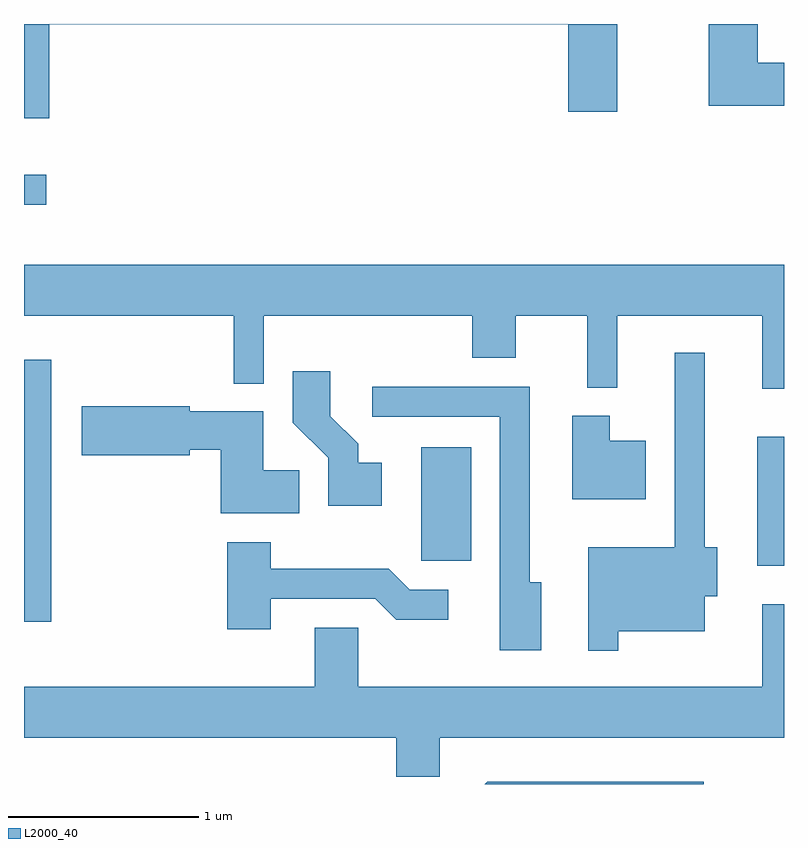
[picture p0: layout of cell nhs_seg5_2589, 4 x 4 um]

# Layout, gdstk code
import gdstk
lib = gdstk.Library(unit=1e-6, precision=1e-09)
def R(c, l, rs):  # rectangles x0, y0, x1, y1
    for r in rs: c.add(gdstk.rectangle(r[:2], r[2:], *l))
def P(c, l, *ps):  # polygons
    for p in ps: c.add(gdstk.Polygon(p, *l))
L2000_40 = (2000, 40)

nhs_seg5_2589 = lib.new_cell('nhs_seg5_2589')
R(nhs_seg5_2589, L2000_40, [(261.611,1492.926,261.754,1494.304), (265.471,1493.221,265.611,1493.899), (263.701,1493.246,263.964,1493.844), (261.611,1495.121,261.728,1495.279)])
P(nhs_seg5_2589, L2000_40, [(261.744,1496.071),(264.476,1496.071),(264.476,1495.611),(264.734,1495.611),(264.734,1496.072),(261.611,1496.072),(261.611,1495.576),(261.744,1495.576)],
  [(265.611,1495.869),(265.474,1495.869),(265.474,1496.072),(265.216,1496.072),(265.216,1495.641),(265.611,1495.641)],
  [(265.611,1494.804),(261.611,1494.804),(261.611,1494.536),(262.716,1494.536),(262.716,1494.178),(262.874,1494.178),(262.874,1494.536),(263.971,1494.536),(263.971,1494.316),(264.199,1494.316),(264.199,1494.536),(264.576,1494.536),(264.576,1494.158),(264.734,1494.158),(264.734,1494.536),(265.496,1494.536),(265.496,1494.153),(265.611,1494.153)],
  [(264.739,1492.876),(265.194,1492.876),(265.194,1493.061),(265.259,1493.061),(265.259,1493.319),(265.194,1493.319),(265.194,1494.343),(265.036,1494.343),(265.036,1493.319),(264.581,1493.319),(264.581,1492.773),(264.739,1492.773)],
  [(263.494,1493.764),(263.369,1493.764),(263.369,1493.862),(263.224,1494.007),(263.224,1494.244),(263.026,1494.244),(263.026,1493.974),(263.211,1493.789),(263.211,1493.536),(263.494,1493.536)],
  [(264.334,1493.134),(264.274,1493.134),(264.274,1494.164),(263.443,1494.164),(263.443,1494.006),(264.116,1494.006),(264.116,1492.776),(264.334,1492.776)],
  [(263.059,1493.724),(262.869,1493.724),(262.869,1494.034),(262.484,1494.034),(262.484,1494.059),(261.916,1494.059),(261.916,1493.801),(262.484,1493.801),(262.484,1493.831),(262.646,1493.831),(262.646,1493.496),(263.059,1493.496)],
  [(264.884,1493.879),(264.694,1493.879),(264.694,1494.009),(264.496,1494.009),(264.496,1493.571),(264.884,1493.571)],
  [(262.909,1493.046),(263.459,1493.046),(263.569,1492.936),(263.843,1492.936),(263.843,1493.094),(263.642,1493.094),(263.532,1493.204),(262.909,1493.204),(262.909,1493.344),(262.681,1493.344),(262.681,1492.886),(262.909,1492.886)],
  [(263.799,1492.316),(265.611,1492.316),(265.611,1493.018),(265.496,1493.018),(265.496,1492.584),(263.369,1492.584),(263.369,1492.894),(263.141,1492.894),(263.141,1492.584),(261.611,1492.584),(261.611,1492.316),(263.571,1492.316),(263.571,1492.111),(263.799,1492.111)],
  [(265.188,1492.084),(264.049,1492.084),(264.037,1492.072),(265.188,1492.072)])

lib.write_gds('nhs_seg5_2589.gds')
